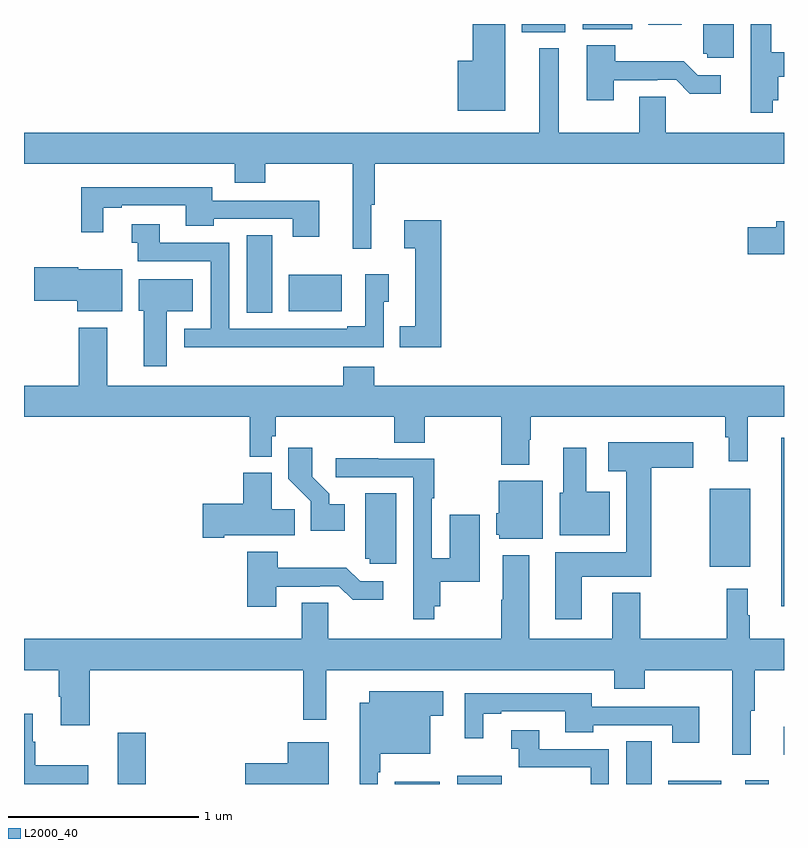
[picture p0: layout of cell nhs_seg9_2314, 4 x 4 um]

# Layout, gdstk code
import gdstk
lib = gdstk.Library(unit=1e-6, precision=1e-09)
def R(c, l, rs):  # rectangles x0, y0, x1, y1
    for r in rs: c.add(gdstk.rectangle(r[:2], r[2:], *l))
def P(c, l, *ps):  # polygons
    for p in ps: c.add(gdstk.Polygon(p, *l))
L2000_40 = (2000, 40)

nhs_seg9_2314 = lib.new_cell('nhs_seg9_2314')
R(nhs_seg9_2314, L2000_40, [(243.494,1182.5,243.641,1182.769), (244.952,1182.5,245.188,1182.511), (245.279,1182.5,245.515,1182.544), (246.17,1182.5,246.304,1182.725), (246.392,1182.5,246.67,1182.517), (246.795,1182.5,246.919,1182.52), (246.999,1182.655,247,1182.802), (246.986,1183.436,247,1184.323), (246.608,1183.643,246.823,1184.053), (244.172,1184.98,244.306,1185.389), (244.394,1184.987,244.672,1185.181), (245.621,1186.457,245.848,1186.5), (245.942,1186.472,246.2,1186.5), (246.285,1186.496,246.463,1186.5)])
P(nhs_seg9_2314, L2000_40, [(246.941,1186.1),(246.971,1186.1),(246.971,1186.222),(247,1186.222),(247,1186.352),(246.934,1186.352),(246.934,1186.5),(246.825,1186.5),(246.825,1186.032),(246.941,1186.032)],
  [(245.533,1186.5),(245.363,1186.5),(245.363,1186.306),(245.282,1186.306),(245.282,1186.043),(245.533,1186.043)],
  [(246.736,1186.5),(246.575,1186.5),(246.575,1186.344),(246.597,1186.344),(246.597,1186.323),(246.736,1186.323)],
  [(246.103,1186.203),(246.332,1186.203),(246.332,1186.206),(246.432,1186.206),(246.505,1186.133),(246.667,1186.133),(246.667,1186.23),(246.546,1186.23),(246.473,1186.303),(246.111,1186.303),(246.111,1186.387),(245.963,1186.387),(245.963,1186.098),(246.103,1186.098)],
  [(244.828,1185.549),(244.847,1185.549),(244.847,1185.764),(247,1185.764),(247,1185.928),(246.378,1185.928),(246.378,1186.118),(246.239,1186.118),(246.239,1185.928),(245.815,1185.928),(245.815,1186.372),(245.711,1186.372),(245.711,1185.928),(243,1185.928),(243,1185.764),(244.109,1185.764),(244.109,1185.665),(244.269,1185.665),(244.269,1185.764),(244.73,1185.764),(244.73,1185.318),(244.828,1185.318)],
  [(244.555,1185.57),(243.991,1185.57),(243.991,1185.642),(243.301,1185.642),(243.301,1185.405),(243.418,1185.405),(243.418,1185.534),(243.514,1185.534),(243.514,1185.546),(243.851,1185.546),(243.851,1185.437),(243.999,1185.437),(243.999,1185.474),(244.415,1185.474),(244.415,1185.381),(244.555,1185.381)],
  [(245.195,1185.466),(245.001,1185.466),(245.001,1185.319),(245.06,1185.319),(245.06,1184.908),(244.978,1184.908),(244.978,1184.798),(245.195,1184.798)],
  [(247,1185.463),(246.959,1185.463),(246.959,1185.429),(246.81,1185.429),(246.81,1185.287),(247,1185.287)],
  [(244.595,1184.799),(244.893,1184.799),(244.893,1185.039),(244.921,1185.039),(244.921,1185.184),(244.797,1185.184),(244.797,1184.908),(244.7,1184.908),(244.7,1184.895),(244.08,1184.895),(244.08,1185.348),(243.715,1185.348),(243.715,1185.447),(243.567,1185.447),(243.567,1185.35),(243.598,1185.35),(243.598,1185.252),(243.984,1185.252),(243.984,1184.895),(243.843,1184.895),(243.843,1184.798),(244.595,1184.798)],
  [(243.517,1185.208),(243.285,1185.208),(243.285,1185.221),(243.054,1185.221),(243.054,1185.043),(243.281,1185.043),(243.281,1184.987),(243.517,1184.987)],
  [(243.751,1184.987),(243.889,1184.987),(243.889,1185.157),(243.605,1185.157),(243.605,1184.991),(243.629,1184.991),(243.629,1184.7),(243.751,1184.7)],
  [(244.189,1184.222),(244.305,1184.222),(244.305,1184.331),(244.325,1184.331),(244.325,1184.432),(244.949,1184.432),(244.949,1184.296),(245.109,1184.296),(245.109,1184.432),(245.512,1184.432),(245.512,1184.18),(245.659,1184.18),(245.659,1184.312),(245.667,1184.312),(245.667,1184.432),(246.691,1184.432),(246.691,1184.324),(246.71,1184.324),(246.71,1184.199),(246.809,1184.199),(246.809,1184.432),(247,1184.432),(247,1184.596),(244.844,1184.596),(244.844,1184.695),(244.679,1184.695),(244.679,1184.596),(243.439,1184.596),(243.439,1184.902),(243.287,1184.902),(243.287,1184.596),(243,1184.596),(243,1184.432),(244.189,1184.432)],
  [(245.935,1183.592),(246.3,1183.592),(246.3,1184.165),(246.523,1184.165),(246.523,1184.299),(246.075,1184.299),(246.075,1184.147),(246.17,1184.147),(246.17,1183.72),(245.795,1183.72),(245.795,1183.368),(245.935,1183.368)],
  [(246.082,1184.038),(245.959,1184.038),(245.959,1184.269),(245.837,1184.269),(245.837,1184.034),(245.819,1184.034),(245.819,1183.808),(246.082,1183.808)],
  [(244.687,1183.972),(244.606,1183.972),(244.606,1184.027),(244.516,1184.117),(244.516,1184.269),(244.39,1184.269),(244.39,1184.106),(244.509,1183.987),(244.509,1183.832),(244.687,1183.832)],
  [(245.158,1183.436),(245.19,1183.436),(245.19,1183.565),(245.398,1183.565),(245.398,1183.918),(245.24,1183.918),(245.24,1183.688),(245.145,1183.688),(245.145,1184.005),(245.158,1184.005),(245.158,1184.211),(244.865,1184.211),(244.865,1184.214),(244.641,1184.214),(244.641,1184.115),(245.049,1184.115),(245.049,1183.368),(245.158,1183.368)],
  [(244.054,1183.808),(244.424,1183.808),(244.424,1183.946),(244.303,1183.946),(244.303,1184.137),(244.154,1184.137),(244.154,1183.974),(243.942,1183.974),(243.942,1183.796),(244.054,1183.796)],
  [(245.731,1184.095),(245.498,1184.095),(245.498,1183.926),(245.486,1183.926),(245.486,1183.812),(245.502,1183.812),(245.502,1183.79),(245.731,1183.79)],
  [(244.96,1184.03),(244.796,1184.03),(244.796,1183.686),(244.821,1183.686),(244.821,1183.659),(244.96,1183.659)],
  [(244.327,1183.539),(244.556,1183.539),(244.556,1183.542),(244.656,1183.542),(244.729,1183.469),(244.891,1183.469),(244.891,1183.566),(244.77,1183.566),(244.697,1183.639),(244.335,1183.639),(244.335,1183.723),(244.175,1183.723),(244.175,1183.434),(244.327,1183.434)],
  [(246.826,1182.885),(246.845,1182.885),(246.845,1183.1),(247,1183.1),(247,1183.264),(246.82,1183.264),(246.82,1183.388),(246.808,1183.388),(246.808,1183.528),(246.699,1183.528),(246.699,1183.264),(246.243,1183.264),(246.243,1183.507),(246.095,1183.507),(246.095,1183.264),(245.659,1183.264),(245.659,1183.705),(245.519,1183.705),(245.519,1183.469),(245.512,1183.469),(245.512,1183.264),(244.602,1183.264),(244.602,1183.454),(244.463,1183.454),(244.463,1183.264),(243,1183.264),(243,1183.1),(243.182,1183.1),(243.182,1182.958),(243.194,1182.958),(243.194,1182.81),(243.347,1182.81),(243.347,1183.1),(244.471,1183.1),(244.471,1182.837),(244.59,1182.837),(244.59,1183.1),(246.107,1183.1),(246.107,1183.001),(246.267,1183.001),(246.267,1183.1),(246.728,1183.1),(246.728,1182.654),(246.826,1182.654)],
  [(244.863,1182.563),(244.876,1182.563),(244.876,1182.659),(245.137,1182.659),(245.137,1182.859),(245.206,1182.859),(245.206,1182.988),(244.817,1182.988),(244.817,1182.928),(244.766,1182.928),(244.766,1182.5),(244.863,1182.5)],
  [(246.553,1182.906),(245.989,1182.906),(245.989,1182.978),(245.319,1182.978),(245.319,1182.741),(245.416,1182.741),(245.416,1182.87),(245.512,1182.87),(245.512,1182.882),(245.849,1182.882),(245.849,1182.773),(245.997,1182.773),(245.997,1182.81),(246.413,1182.81),(246.413,1182.717),(246.553,1182.717)],
  [(243.337,1182.598),(243.058,1182.598),(243.058,1182.722),(243.046,1182.722),(243.046,1182.871),(243,1182.871),(243,1182.5),(243.337,1182.5)],
  [(246.078,1182.684),(245.713,1182.684),(245.713,1182.783),(245.565,1182.783),(245.565,1182.686),(245.604,1182.686),(245.604,1182.588),(245.982,1182.588),(245.982,1182.5),(246.078,1182.5)],
  [(244.603,1182.721),(244.388,1182.721),(244.388,1182.608),(244.164,1182.608),(244.164,1182.5),(244.603,1182.5)])

lib.write_gds('nhs_seg9_2314.gds')
